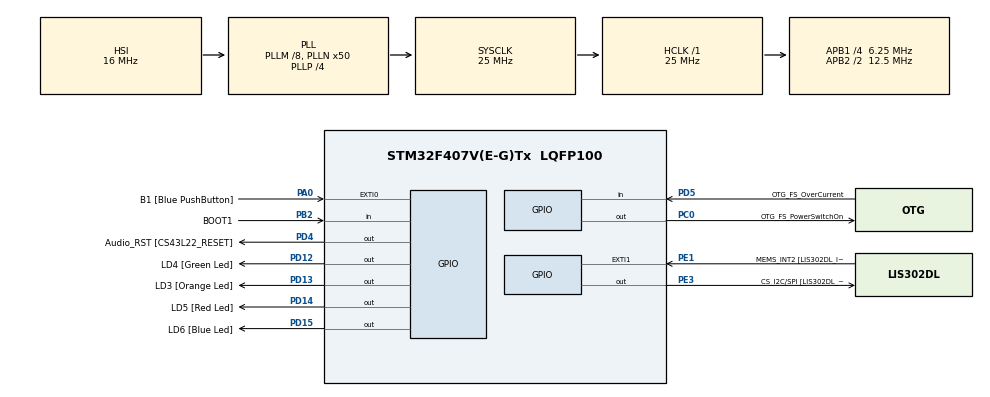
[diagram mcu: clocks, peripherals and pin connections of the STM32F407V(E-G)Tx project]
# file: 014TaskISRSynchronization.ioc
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Mcu.Family=STM32F4
Mcu.Name=STM32F407V(E-G)Tx
Mcu.Package=LQFP100
NVIC.EXTI0_IRQn=true\:0\:0\:false\:false\:true\:true\:true\:true
NVIC.PriorityGroup=NVIC_PRIORITYGROUP_0
NVIC.TIM6_DAC_IRQn=true\:0\:0\:false\:false\:true\:false\:true\:true
NVIC.TimeBase=TIM6_DAC_IRQn
NVIC.TimeBaseIP=TIM6
PA0-WKUP.GPIO_Label=B1 [Blue PushButton]
PA0-WKUP.Signal=GPXTI0
PA10.GPIO_Label=OTG_FS_ID
PA10.GPIO_Mode=GPIO_MODE_AF_PP
PA10.GPIO_PuPd=GPIO_NOPULL
PA10.GPIO_Speed=GPIO_SPEED_FREQ_LOW
PA10.Signal=USB_OTG_FS_ID
PA11.GPIO_Label=OTG_FS_DM
PA11.GPIO_Mode=GPIO_MODE_AF_PP
PA11.GPIO_PuPd=GPIO_NOPULL
PA11.GPIO_Speed=GPIO_SPEED_FREQ_LOW
PA11.Signal=USB_OTG_FS_DM
PA12.GPIO_Label=OTG_FS_DP
PA12.GPIO_Mode=GPIO_MODE_AF_PP
PA12.GPIO_PuPd=GPIO_NOPULL
PA12.GPIO_Speed=GPIO_SPEED_FREQ_LOW
PA12.Signal=USB_OTG_FS_DP
PA13.GPIO_Label=SWDIO
PA13.Signal=SYS_JTMS-SWDIO
PA14.GPIO_Label=SWCLK
PA14.Signal=SYS_JTCK-SWCLK
PA4.GPIO_Label=I2S3_WS [CS43L22_LRCK]
PA4.GPIO_Mode=GPIO_MODE_AF_PP
PA4.GPIO_PuPd=GPIO_NOPULL
PA4.GPIO_Speed=GPIO_SPEED_FREQ_LOW
PA4.Signal=I2S3_WS
PA5.GPIO_Label=SPI1_SCK [LIS302DL_SCL/SPC]
PA5.GPIO_Mode=GPIO_MODE_AF_PP
PA5.GPIO_PuPd=GPIO_NOPULL
PA5.GPIO_Speed=GPIO_SPEED_FREQ_LOW
PA5.Signal=SPI1_SCK
PA6.GPIO_Label=SPI1_MISO [LIS302DL_SDO]
PA6.GPIO_Mode=GPIO_MODE_AF_PP
PA6.GPIO_PuPd=GPIO_NOPULL
PA6.GPIO_Speed=GPIO_SPEED_FREQ_LOW
PA6.Signal=SPI1_MISO
PA7.GPIO_Label=SPI1_MOSI [LIS302DL_SDA/SDI/SDO]
PA7.GPIO_Mode=GPIO_MODE_AF_PP
PA7.GPIO_PuPd=GPIO_NOPULL
PA7.GPIO_Speed=GPIO_SPEED_FREQ_LOW
PA7.Signal=SPI1_MOSI
PA9.GPIO_Label=VBUS_FS
PA9.GPIO_Mode=GPIO_MODE_INPUT
PA9.GPIO_PuPd=GPIO_NOPULL
PA9.Signal=USB_OTG_FS_VBUS
PB10.GPIO_Label=CLK_IN [MP45DT02_CLK]
PB10.GPIO_Mode=GPIO_MODE_AF_PP
PB10.GPIO_PuPd=GPIO_NOPULL
PB10.GPIO_Speed=GPIO_SPEED_FREQ_LOW
PB10.Signal=I2S2_CK
PB2.GPIO_Label=BOOT1
PB2.GPIO_Mode=GPIO_MODE_INPUT
PB2.GPIO_PuPd=GPIO_NOPULL
PB2.Signal=GPIO_Input
PB3.GPIO_Label=SWO
PB3.Signal=SYS_JTDO-SWO
PB6.GPIO_Label=Audio_SCL [CS43L22_SCL]
PB6.GPIO_Mode=GPIO_MODE_AF_OD
PB6.GPIO_PuPd=GPIO_NOPULL
PB6.GPIO_Speed=GPIO_SPEED_FREQ_LOW
PB6.Signal=I2C1_SCL
PB9.GPIO_Label=Audio_SDA [CS43L22_SDA]
PB9.GPIO_Mode=GPIO_MODE_AF_OD
PB9.GPIO_PuPd=GPIO_NOPULL
PB9.GPIO_Speed=GPIO_SPEED_FREQ_LOW
PB9.Signal=I2C1_SDA
PC0.GPIO_Label=OTG_FS_PowerSwitchOn
PC0.GPIO_PuPd=GPIO_NOPULL
PC0.GPIO_Speed=GPIO_SPEED_FREQ_LOW
PC0.PinState=GPIO_PIN_SET
PC0.Signal=GPIO_Output
PC10.GPIO_Label=I2S3_SCK [CS43L22_SCLK]
PC10.GPIO_Mode=GPIO_MODE_AF_PP
PC10.GPIO_PuPd=GPIO_NOPULL
PC10.GPIO_Speed=GPIO_SPEED_FREQ_LOW
PC10.Signal=I2S3_CK
PC12.GPIO_Label=I2S3_SD [CS43L22_SDIN]
PC12.GPIO_Mode=GPIO_MODE_AF_PP
PC12.GPIO_PuPd=GPIO_NOPULL
PC12.GPIO_Speed=GPIO_SPEED_FREQ_LOW
PC12.Signal=I2S3_SD
PC14-OSC32_IN.GPIO_Label=PC14-OSC32_IN
PC14-OSC32_IN.Signal=RCC_OSC32_IN
PC15-OSC32_OUT.GPIO_Label=PC15-OSC32_OUT
PC15-OSC32_OUT.Signal=RCC_OSC32_OUT
PC3.GPIO_Label=PDM_OUT [MP45DT02_DOUT]
PC3.GPIO_Mode=GPIO_MODE_AF_PP
PC3.GPIO_PuPd=GPIO_NOPULL
PC3.GPIO_Speed=GPIO_SPEED_FREQ_LOW
PC3.Signal=I2S2_SD
PC7.GPIO_Label=I2S3_MCK [CS43L22_MCLK]
PC7.GPIO_Mode=GPIO_MODE_AF_PP
PC7.GPIO_PuPd=GPIO_NOPULL
PC7.GPIO_Speed=GPIO_SPEED_FREQ_LOW
PC7.Signal=I2S3_MCK
PD12.GPIO_Label=LD4 [Green Led]
PD12.GPIO_PuPd=GPIO_NOPULL
PD12.GPIO_Speed=GPIO_SPEED_FREQ_LOW
PD12.Signal=GPIO_Output
PD13.GPIO_Label=LD3 [Orange Led]
PD13.GPIO_PuPd=GPIO_NOPULL
PD13.GPIO_Speed=GPIO_SPEED_FREQ_LOW
PD13.Signal=GPIO_Output
PD14.GPIO_Label=LD5 [Red Led]
PD14.GPIO_PuPd=GPIO_NOPULL
PD14.GPIO_Speed=GPIO_SPEED_FREQ_LOW
PD14.Signal=GPIO_Output
PD15.GPIO_Label=LD6 [Blue Led]
PD15.GPIO_PuPd=GPIO_NOPULL
PD15.GPIO_Speed=GPIO_SPEED_FREQ_LOW
PD15.Signal=GPIO_Output
PD4.GPIO_Label=Audio_RST [CS43L22_RESET]
PD4.GPIO_PuPd=GPIO_NOPULL
PD4.GPIO_Speed=GPIO_SPEED_FREQ_LOW
PD4.Signal=GPIO_Output
PD5.GPIO_Label=OTG_FS_OverCurrent
PD5.GPIO_Mode=GPIO_MODE_INPUT
PD5.GPIO_PuPd=GPIO_NOPULL
PD5.Signal=GPIO_Input
PE1.GPIO_Label=MEMS_INT2 [LIS302DL_INT2]
PE1.GPIO_ModeDefaultEXTI=GPIO_MODE_EVT_RISING
PE1.GPIO_PuPd=GPIO_NOPULL
PE1.Signal=GPXTI1
PE3.GPIO_Label=CS_I2C/SPI [LIS302DL_CS_I2C/SPI]
PE3.GPIO_PuPd=GPIO_NOPULL
PE3.GPIO_Speed=GPIO_SPEED_FREQ_LOW
PE3.Signal=GPIO_Output
PH0-OSC_IN.GPIO_Label=PH0-OSC_IN
PH0-OSC_IN.Signal=RCC_OSC_IN
PH1-OSC_OUT.GPIO_Label=PH1-OSC_OUT
PH1-OSC_OUT.Signal=RCC_OSC_OUT
ProjectManager.HeapSize=0x200
ProjectManager.StackSize=0x400
ProjectManager.TargetToolchain=STM32CubeIDE
RCC.48MHZClocksFreq_Value=14285714.285714285
RCC.AHBFreq_Value=25000000
RCC.APB1CLKDivider=RCC_HCLK_DIV4
RCC.APB1Freq_Value=6250000
RCC.APB1TimFreq_Value=12500000
RCC.APB2CLKDivider=RCC_HCLK_DIV2
RCC.APB2Freq_Value=12500000
RCC.APB2TimFreq_Value=25000000
RCC.CortexFreq_Value=25000000
RCC.HCLKFreq_Value=25000000
RCC.HSE_VALUE=8000000
RCC.HSI_VALUE=16000000
RCC.LSE_VALUE=32768
RCC.PLLM=8
RCC.PLLN=50
RCC.PLLP=RCC_PLLP_DIV4
RCC.PLLQ=7
RCC.SYSCLKFreq_VALUE=25000000
RCC.SYSCLKSource=RCC_SYSCLKSOURCE_PLLCLK
RCC.VCOOutputFreq_Value=100000000
VP_SYS_VS_tim6.Mode=TIM6
board=STM32F407G-DISC1

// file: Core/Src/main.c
/* USER CODE BEGIN Header */
/**
  ******************************************************************************
  * @file           : main.c
  * @brief          : Main program body
  ******************************************************************************
  * @attention
  *
  * Copyright (c) 2024 STMicroelectronics.
  * All rights reserved.
  *
  * This software is licensed under terms that can be found in the LICENSE file
  * in the root directory of this software component.
  * If no LICENSE file comes with this software, it is provided AS-IS.
  *
  ******************************************************************************
  */
/* USER CODE END Header */
#include "main.h"

/* USER CODE BEGIN Includes */
#include <stdint.h>
#include <stdlib.h>
#include "FreeRTOS.h"
#include "task.h"
#include "semphr.h"
/* USER CODE END Includes */

/* USER CODE BEGIN PD */
#define DWT_CTRL					(*(volatile uint32_t *) 0xE0001000U)
#define LED_TOGGLE_COUNT			5
#define SPIN_DELAY_COUNT			500000
/* USER CODE END PD */

/* USER CODE BEGIN PV */
TaskHandle_t task_1_handle;
SemaphoreHandle_t button_sem;

/* USER CODE END PV */

void SystemClock_Config(void);
static void MX_GPIO_Init(void);
/* USER CODE BEGIN PFP */
static void task_1(void *params);
static void toggle_led(void);
static void spin_delay(uint32_t count);
/* USER CODE END PFP */

int main(void)
{
  /* USER CODE BEGIN 1 */
	BaseType_t status;

  /* USER CODE END 1 */

  /* MCU Configuration--------------------------------------------------------*/

  /* Reset of all peripherals, Initializes the Flash interface and the Systick. */
  HAL_Init();

  /* Configure the system clock */
  SystemClock_Config();

  /* Initialize all configured peripherals */
  MX_GPIO_Init();
  /* USER CODE BEGIN 2 */
  //Enable the DWT (Data Watch Point) Cycle Count Feature
  DWT_CTRL |= (1 << 0);

  //Enabling SEGGER SYSVIEW event tracing
  SEGGER_SYSVIEW_Conf();
  SEGGER_SYSVIEW_Start();

  status = xTaskCreate(task_1,"task_1",1024,NULL,1,&task_1_handle);
  configASSERT(status == pdPASS);

  button_sem = xSemaphoreCreateBinary();
  configASSERT(button_sem != NULL);

  vTaskStartScheduler();
  /* USER CODE END 2 */

  /* Infinite loop */
  while (1)
  {

  }
}

void SystemClock_Config(void)
{
  RCC_OscInitTypeDef RCC_OscInitStruct = {0};
  RCC_ClkInitTypeDef RCC_ClkInitStruct = {0};

  /** Configure the main internal regulator output voltage
  */
  __HAL_RCC_PWR_CLK_ENABLE();
  __HAL_PWR_VOLTAGESCALING_CONFIG(PWR_REGULATOR_VOLTAGE_SCALE1);

  /** Initializes the RCC Oscillators according to the specified parameters
  * in the RCC_OscInitTypeDef structure.
  */
  RCC_OscInitStruct.OscillatorType = RCC_OSCILLATORTYPE_HSI;
  RCC_OscInitStruct.HSIState = RCC_HSI_ON;
  RCC_OscInitStruct.HSICalibrationValue = RCC_HSICALIBRATION_DEFAULT;
  RCC_OscInitStruct.PLL.PLLState = RCC_PLL_ON;
  RCC_OscInitStruct.PLL.PLLSource = RCC_PLLSOURCE_HSI;
  RCC_OscInitStruct.PLL.PLLM = 8;
  RCC_OscInitStruct.PLL.PLLN = 50;
  RCC_OscInitStruct.PLL.PLLP = RCC_PLLP_DIV4;
  RCC_OscInitStruct.PLL.PLLQ = 7;
  if (HAL_RCC_OscConfig(&RCC_OscInitStruct) != HAL_OK)
  {
    Error_Handler();
  }

  /** Initializes the CPU, AHB and APB buses clocks
  */
  RCC_ClkInitStruct.ClockType = RCC_CLOCKTYPE_HCLK|RCC_CLOCKTYPE_SYSCLK
                              |RCC_CLOCKTYPE_PCLK1|RCC_CLOCKTYPE_PCLK2;
  RCC_ClkInitStruct.SYSCLKSource = RCC_SYSCLKSOURCE_PLLCLK;
  RCC_ClkInitStruct.AHBCLKDivider = RCC_SYSCLK_DIV1;
  RCC_ClkInitStruct.APB1CLKDivider = RCC_HCLK_DIV4;
  RCC_ClkInitStruct.APB2CLKDivider = RCC_HCLK_DIV2;

  if (HAL_RCC_ClockConfig(&RCC_ClkInitStruct, FLASH_LATENCY_0) != HAL_OK)
  {
    Error_Handler();
  }
}

static void MX_GPIO_Init(void)
{
  GPIO_InitTypeDef GPIO_InitStruct = {0};

  /* GPIO Ports Clock Enable */
  __HAL_RCC_GPIOE_CLK_ENABLE();
  __HAL_RCC_GPIOC_CLK_ENABLE();
  __HAL_RCC_GPIOH_CLK_ENABLE();
  __HAL_RCC_GPIOA_CLK_ENABLE();
  __HAL_RCC_GPIOB_CLK_ENABLE();
  __HAL_RCC_GPIOD_CLK_ENABLE();

  /*Configure GPIO pin Output Level */
  HAL_GPIO_WritePin(CS_I2C_SPI_GPIO_Port, CS_I2C_SPI_Pin, GPIO_PIN_RESET);

  /*Configure GPIO pin Output Level */
  HAL_GPIO_WritePin(OTG_FS_PowerSwitchOn_GPIO_Port, OTG_FS_PowerSwitchOn_Pin, GPIO_PIN_SET);

  /*Configure GPIO pin Output Level */
  HAL_GPIO_WritePin(GPIOD, LD4_Pin|LD3_Pin|LD5_Pin|LD6_Pin
                          |Audio_RST_Pin, GPIO_PIN_RESET);

  /*Configure GPIO pin : CS_I2C_SPI_Pin */
  GPIO_InitStruct.Pin = CS_I2C_SPI_Pin;
  GPIO_InitStruct.Mode = GPIO_MODE_OUTPUT_PP;
  GPIO_InitStruct.Pull = GPIO_NOPULL;
  GPIO_InitStruct.Speed = GPIO_SPEED_FREQ_LOW;
  HAL_GPIO_Init(CS_I2C_SPI_GPIO_Port, &GPIO_InitStruct);

  /*Configure GPIO pin : OTG_FS_PowerSwitchOn_Pin */
  GPIO_InitStruct.Pin = OTG_FS_PowerSwitchOn_Pin;
  GPIO_InitStruct.Mode = GPIO_MODE_OUTPUT_PP;
  GPIO_InitStruct.Pull = GPIO_NOPULL;
  GPIO_InitStruct.Speed = GPIO_SPEED_FREQ_LOW;
  HAL_GPIO_Init(OTG_FS_PowerSwitchOn_GPIO_Port, &GPIO_InitStruct);

  /*Configure GPIO pin : PDM_OUT_Pin */
  GPIO_InitStruct.Pin = PDM_OUT_Pin;
  GPIO_InitStruct.Mode = GPIO_MODE_AF_PP;
  GPIO_InitStruct.Pull = GPIO_NOPULL;
  GPIO_InitStruct.Speed = GPIO_SPEED_FREQ_LOW;
  GPIO_InitStruct.Alternate = GPIO_AF5_SPI2;
  HAL_GPIO_Init(PDM_OUT_GPIO_Port, &GPIO_InitStruct);

  /*Configure GPIO pin : B1_Pin */
  GPIO_InitStruct.Pin = B1_Pin;
  GPIO_InitStruct.Mode = GPIO_MODE_IT_RISING;
  GPIO_InitStruct.Pull = GPIO_NOPULL;
  HAL_GPIO_Init(B1_GPIO_Port, &GPIO_InitStruct);

  /*Configure GPIO pin : I2S3_WS_Pin */
  GPIO_InitStruct.Pin = I2S3_WS_Pin;
  GPIO_InitStruct.Mode = GPIO_MODE_AF_PP;
  GPIO_InitStruct.Pull = GPIO_NOPULL;
  GPIO_InitStruct.Speed = GPIO_SPEED_FREQ_LOW;
  GPIO_InitStruct.Alternate = GPIO_AF6_SPI3;
  HAL_GPIO_Init(I2S3_WS_GPIO_Port, &GPIO_InitStruct);

  /*Configure GPIO pins : SPI1_SCK_Pin SPI1_MISO_Pin SPI1_MOSI_Pin */
  GPIO_InitStruct.Pin = SPI1_SCK_Pin|SPI1_MISO_Pin|SPI1_MOSI_Pin;
  GPIO_InitStruct.Mode = GPIO_MODE_AF_PP;
  GPIO_InitStruct.Pull = GPIO_NOPULL;
  GPIO_InitStruct.Speed = GPIO_SPEED_FREQ_LOW;
  GPIO_InitStruct.Alternate = GPIO_AF5_SPI1;
  HAL_GPIO_Init(GPIOA, &GPIO_InitStruct);

  /*Configure GPIO pin : BOOT1_Pin */
  GPIO_InitStruct.Pin = BOOT1_Pin;
  GPIO_InitStruct.Mode = GPIO_MODE_INPUT;
  GPIO_InitStruct.Pull = GPIO_NOPULL;
  HAL_GPIO_Init(BOOT1_GPIO_Port, &GPIO_InitStruct);

  /*Configure GPIO pin : CLK_IN_Pin */
  GPIO_InitStruct.Pin = CLK_IN_Pin;
  GPIO_InitStruct.Mode = GPIO_MODE_AF_PP;
  GPIO_InitStruct.Pull = GPIO_NOPULL;
  GPIO_InitStruct.Speed = GPIO_SPEED_FREQ_LOW;
  GPIO_InitStruct.Alternate = GPIO_AF5_SPI2;
  HAL_GPIO_Init(CLK_IN_GPIO_Port, &GPIO_InitStruct);

  /*Configure GPIO pins : LD4_Pin LD3_Pin LD5_Pin LD6_Pin
                           Audio_RST_Pin */
  GPIO_InitStruct.Pin = LD4_Pin|LD3_Pin|LD5_Pin|LD6_Pin
                          |Audio_RST_Pin;
  GPIO_InitStruct.Mode = GPIO_MODE_OUTPUT_PP;
  GPIO_InitStruct.Pull = GPIO_NOPULL;
  GPIO_InitStruct.Speed = GPIO_SPEED_FREQ_LOW;
  HAL_GPIO_Init(GPIOD, &GPIO_InitStruct);

  /*Configure GPIO pins : I2S3_MCK_Pin I2S3_SCK_Pin I2S3_SD_Pin */
  GPIO_InitStruct.Pin = I2S3_MCK_Pin|I2S3_SCK_Pin|I2S3_SD_Pin;
  GPIO_InitStruct.Mode = GPIO_MODE_AF_PP;
  GPIO_InitStruct.Pull = GPIO_NOPULL;
  GPIO_InitStruct.Speed = GPIO_SPEED_FREQ_LOW;
  GPIO_InitStruct.Alternate = GPIO_AF6_SPI3;
  HAL_GPIO_Init(GPIOC, &GPIO_InitStruct);

  /*Configure GPIO pin : VBUS_FS_Pin */
  GPIO_InitStruct.Pin = VBUS_FS_Pin;
  GPIO_InitStruct.Mode = GPIO_MODE_INPUT;
  GPIO_InitStruct.Pull = GPIO_NOPULL;
  HAL_GPIO_Init(VBUS_FS_GPIO_Port, &GPIO_InitStruct);

  /*Configure GPIO pins : OTG_FS_ID_Pin OTG_FS_DM_Pin OTG_FS_DP_Pin */
  GPIO_InitStruct.Pin = OTG_FS_ID_Pin|OTG_FS_DM_Pin|OTG_FS_DP_Pin;
  GPIO_InitStruct.Mode = GPIO_MODE_AF_PP;
  GPIO_InitStruct.Pull = GPIO_NOPULL;
  GPIO_InitStruct.Speed = GPIO_SPEED_FREQ_LOW;
  GPIO_InitStruct.Alternate = GPIO_AF10_OTG_FS;
  HAL_GPIO_Init(GPIOA, &GPIO_InitStruct);

  /*Configure GPIO pin : OTG_FS_OverCurrent_Pin */
  GPIO_InitStruct.Pin = OTG_FS_OverCurrent_Pin;
  GPIO_InitStruct.Mode = GPIO_MODE_INPUT;
  GPIO_InitStruct.Pull = GPIO_NOPULL;
  HAL_GPIO_Init(OTG_FS_OverCurrent_GPIO_Port, &GPIO_InitStruct);

  /*Configure GPIO pins : Audio_SCL_Pin Audio_SDA_Pin */
  GPIO_InitStruct.Pin = Audio_SCL_Pin|Audio_SDA_Pin;
  GPIO_InitStruct.Mode = GPIO_MODE_AF_OD;
  GPIO_InitStruct.Pull = GPIO_NOPULL;
  GPIO_InitStruct.Speed = GPIO_SPEED_FREQ_LOW;
  GPIO_InitStruct.Alternate = GPIO_AF4_I2C1;
  HAL_GPIO_Init(GPIOB, &GPIO_InitStruct);

  /*Configure GPIO pin : MEMS_INT2_Pin */
  GPIO_InitStruct.Pin = MEMS_INT2_Pin;
  GPIO_InitStruct.Mode = GPIO_MODE_EVT_RISING;
  GPIO_InitStruct.Pull = GPIO_NOPULL;
  HAL_GPIO_Init(MEMS_INT2_GPIO_Port, &GPIO_InitStruct);

  /* EXTI interrupt init*/
  HAL_NVIC_SetPriority(EXTI0_IRQn,6, 0U);
  HAL_NVIC_EnableIRQ(EXTI0_IRQn);

}

/* USER CODE BEGIN 4 */

static void task_1(void *params)
{
	while(1)
	{
		if(xSemaphoreTake(button_sem,portMAX_DELAY) == pdTRUE)
		{
			toggle_led();
		}
	}
}

void HAL_GPIO_EXTI_Callback(uint16_t GPIO_Pin)
{
	BaseType_t xHigherPriorityTaskWoken = pdFALSE;

	xSemaphoreGiveFromISR(button_sem,&xHigherPriorityTaskWoken);
}

static void toggle_led(void)
{
	uint32_t i;

	for(i=0;i<LED_TOGGLE_COUNT;i++)
	{
		HAL_GPIO_WritePin(GPIOD,LD6_Pin,1);
		spin_delay(SPIN_DELAY_COUNT);
		HAL_GPIO_WritePin(GPIOD,LD6_Pin,0);
		spin_delay(SPIN_DELAY_COUNT);
	}
}

static void spin_delay(uint32_t count)
{
	uint32_t i;

	for(i=0;i<count;i++)
	{

	}
}
/* USER CODE END 4 */

void HAL_TIM_PeriodElapsedCallback(TIM_HandleTypeDef *htim)
{
  if (htim->Instance == TIM6) {
    HAL_IncTick();
  }
}

void Error_Handler(void)
{
  __disable_irq();
  while (1)
  {
  }
}
